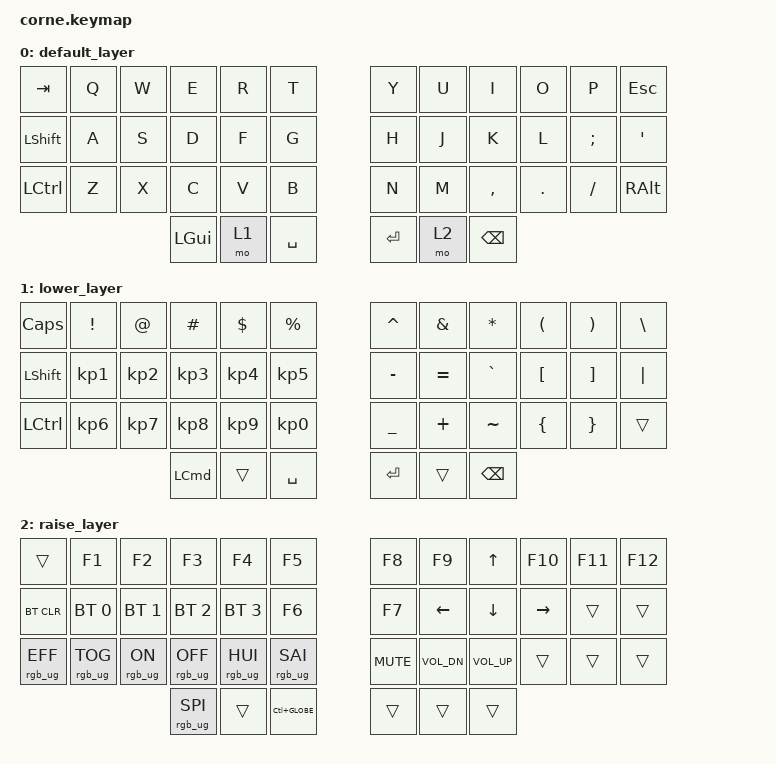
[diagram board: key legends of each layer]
/*
 * Copyright (c) 2020 The ZMK Contributors
 *
 * SPDX-License-Identifier: MIT
 */

#include <behaviors.dtsi>
#include <dt-bindings/zmk/bt.h>
#include <dt-bindings/zmk/keys.h>
#include <dt-bindings/zmk/rgb.h>

/ {
    keymap {
        compatible = "zmk,keymap";

        default_layer {
            // -----------------------------------------------------------------------------------------
            // |  TAB |  Q  |  W  |  E  |  R  |  T  |   |  Y  |  U   |  I  |  O  |  P  | BKSP |
            // | CTRL |  A  |  S  |  D  |  F  |  G  |   |  H  |  J   |  K  |  L  |  ;  |  '   |
            // | SHFT |  Z  |  X  |  C  |  V  |  B  |   |  N  |  M   |  ,  |  .  |  /  | ESC  |
            //                    | GUI | LWR | SPC |   | ENT | RSE  | ALT |

            bindings = <
&kp TAB           &kp Q  &kp W  &kp E     &kp R  &kp T        &kp Y    &kp U  &kp I          &kp O    &kp P     &kp ESC
&kp LEFT_SHIFT    &kp A  &kp S  &kp D     &kp F  &kp G        &kp H    &kp J  &kp K          &kp L    &kp SEMI  &kp SQT
&kp LEFT_CONTROL  &kp Z  &kp X  &kp C     &kp V  &kp B        &kp N    &kp M  &kp COMMA      &kp DOT  &kp FSLH  &kp RALT
                                &kp LGUI  &mo 1  &kp SPACE    &kp RET  &mo 2  &kp BACKSPACE
            >;
        };

        lower_layer {
            // -----------------------------------------------------------------------------------------
            // |  TAB |  1  |  2  |  3  |  4  |  5  |   |  6  |  7  |  8  |  9  |  0  | BKSP |
            // | BTCLR| BT1 | BT2 | BT3 | BT4 | BT5 |   | LFT | DWN |  UP | RGT |     |      |
            // | SHFT |     |     |     |     |     |   |     |     |     |     |     |      |
            //                    | GUI |     | SPC |   | ENT |     | ALT |

            bindings = <
&kp CLCK          &kp EXCLAMATION  &kp AT_SIGN      &kp HASH          &kp DOLLAR       &kp PERCENT        &kp CARET       &kp AMPERSAND  &kp ASTERISK   &kp LEFT_PARENTHESIS  &kp RIGHT_PARENTHESIS  &kp BACKSLASH
&kp LEFT_SHIFT    &kp KP_NUMBER_1  &kp KP_NUMBER_2  &kp KP_NUMBER_3   &kp KP_NUMBER_4  &kp KP_NUMBER_5    &kp MINUS       &kp EQUAL      &kp GRAVE      &kp LBKT              &kp RIGHT_BRACKET      &kp PIPE
&kp LEFT_CONTROL  &kp KP_NUMBER_6  &kp KP_NUMBER_7  &kp KP_NUMBER_8   &kp KP_NUMBER_9  &kp KP_NUMBER_0    &kp UNDERSCORE  &kp PLUS       &kp TILDE      &kp LEFT_BRACE        &kp RIGHT_BRACE        &trans
                                                    &kp LEFT_COMMAND  &trans           &kp SPACE          &kp RET         &trans         &kp BACKSPACE
            >;
        };

        raise_layer {
            // -----------------------------------------------------------------------------------------
            // |  TAB |  !  |  @  |  #  |  $  |  %  |   |  ^  |  &  |  *  |  (  |  )  | BKSP |
            // | CTRL |     |     |     |     |     |   |  -  |  =  |  [  |  ]  |  \  |  `   |
            // | SHFT |     |     |     |     |     |   |  _  |  +  |  {  |  }  | "|" |  ~   |
            //                    | GUI |     | SPC |   | ENT |     | ALT |

            bindings = <
&trans           &kp F1           &kp F2          &kp F3           &kp F4           &kp F5             &kp F8      &kp F9        &kp UP           &kp F10    &kp F11  &kp F12
&bt BT_CLR       &bt BT_SEL 0     &bt BT_SEL 1    &bt BT_SEL 2     &bt BT_SEL 3     &kp F6             &kp F7      &kp LEFT      &kp DOWN         &kp RIGHT  &trans   &trans
&rgb_ug RGB_EFF  &rgb_ug RGB_TOG  &rgb_ug RGB_ON  &rgb_ug RGB_OFF  &rgb_ug RGB_HUI  &rgb_ug RGB_SAI    &kp C_MUTE  &kp C_VOL_DN  &kp C_VOLUME_UP  &trans     &trans   &trans
                                                  &rgb_ug RGB_SPI  &trans           &kp LC(GLOBE)      &trans      &trans        &trans
            >;
        };
    };
};
